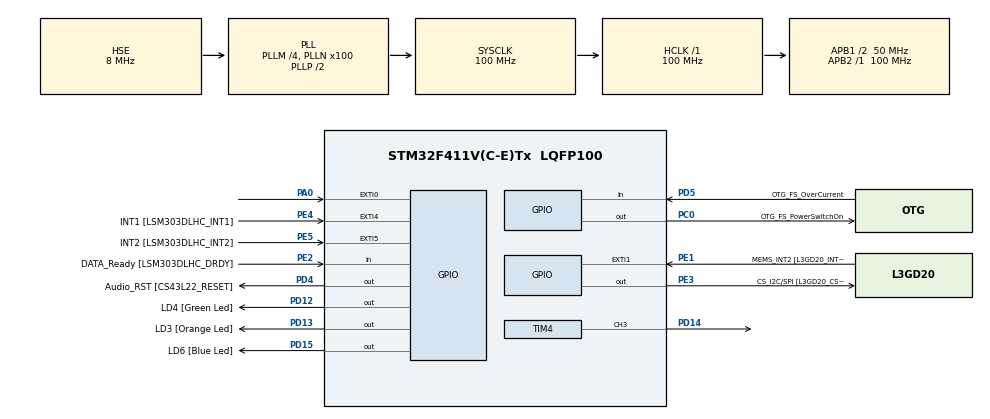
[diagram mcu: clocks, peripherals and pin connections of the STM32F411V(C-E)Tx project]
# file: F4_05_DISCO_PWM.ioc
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Mcu.Family=STM32F4
Mcu.Name=STM32F411V(C-E)Tx
Mcu.Package=LQFP100
NVIC.PriorityGroup=NVIC_PRIORITYGROUP_0
NVIC.TIM1_UP_TIM10_IRQn=true\:0\:0\:false\:false\:true\:true\:true\:true
NVIC.TIM4_IRQn=true\:0\:0\:false\:false\:true\:true\:true\:true
PA0-WKUP.GPIO_ModeDefaultEXTI=GPIO_MODE_EVT_RISING
PA0-WKUP.Signal=GPXTI0
PA10.GPIO_Label=OTG_FS_ID
PA10.Signal=USB_OTG_FS_ID
PA11.GPIO_Label=OTG_FS_DM
PA11.Signal=USB_OTG_FS_DM
PA12.GPIO_Label=OTG_FS_DP
PA12.Signal=USB_OTG_FS_DP
PA13.GPIO_Label=SWDIO
PA13.Mode=Serial_Wire
PA13.Signal=SYS_JTMS-SWDIO
PA14.GPIO_Label=SWCLK
PA14.Mode=Serial_Wire
PA14.Signal=SYS_JTCK-SWCLK
PA4.GPIO_Label=I2S3_WS [CS43L22_LRCK]
PA4.GPIO_Mode=GPIO_MODE_AF_PP
PA4.GPIO_PuPd=GPIO_NOPULL
PA4.GPIO_Speed=GPIO_SPEED_FREQ_LOW
PA4.Signal=I2S3_WS
PA5.GPIO_Label=SPI1_SCK [L3GD20_SC/SPC]
PA5.Signal=SPI1_SCK
PA6.GPIO_Label=SPI1_MISO [L3GD20_AS0/SDO]
PA6.Signal=SPI1_MISO
PA7.GPIO_Label=SPI1_MOSI [L3GD20_SDA/SDI/SDO]
PA7.Signal=SPI1_MOSI
PA9.GPIO_Label=VBUS_FS
PA9.Signal=USB_OTG_FS_VBUS
PB10.GPIO_Label=CLK_IN [MP45DT02_CLK]
PB10.Signal=I2S2_CK
PB12.Signal=I2S2_WS
PB3.GPIO_Label=SWO
PB3.Signal=SYS_JTDO-SWO
PB6.GPIO_Label=Audio_SCL [CS43L22_SCL]
PB6.GPIO_Mode=GPIO_MODE_AF_OD
PB6.GPIO_Pu=GPIO_PULLUP
PB6.GPIO_PuPd=GPIO_NOPULL
PB6.GPIO_Speed=GPIO_SPEED_FREQ_LOW
PB6.Signal=I2C1_SCL
PB9.GPIO_Label=Audio_SDA [CS43L22_SDA]
PB9.GPIO_Mode=GPIO_MODE_AF_OD
PB9.GPIO_Pu=GPIO_PULLUP
PB9.GPIO_PuPd=GPIO_NOPULL
PB9.GPIO_Speed=GPIO_SPEED_FREQ_LOW
PB9.Signal=I2C1_SDA
PC0.GPIO_Label=OTG_FS_PowerSwitchOn
PC0.PinState=GPIO_PIN_SET
PC0.Signal=GPIO_Output
PC10.GPIO_Label=I2S3_SCK [CS43L22_SCLK]
PC10.GPIO_Mode=GPIO_MODE_AF_PP
PC10.GPIO_PuPd=GPIO_NOPULL
PC10.GPIO_Speed=GPIO_SPEED_FREQ_LOW
PC10.Signal=I2S3_CK
PC12.GPIO_Label=I2S3_SD [CS43L22_SDIN]
PC12.GPIO_Mode=GPIO_MODE_AF_PP
PC12.GPIO_PuPd=GPIO_NOPULL
PC12.GPIO_Speed=GPIO_SPEED_FREQ_LOW
PC12.Signal=I2S3_SD
PC14-OSC32_IN.GPIO_Label=PC14-OSC32_IN
PC14-OSC32_IN.Signal=RCC_OSC32_IN
PC15-OSC32_OUT.GPIO_Label=PC15-OSC32_OUT
PC15-OSC32_OUT.Signal=RCC_OSC32_OUT
PC3.GPIO_Label=PDM_OUT [MP45DT02_DOUT]
PC3.Signal=I2S2_SD
PC7.GPIO_Label=I2S3_MCK [CS43L22_MCLK]
PC7.GPIO_Mode=GPIO_MODE_AF_PP
PC7.GPIO_PuPd=GPIO_NOPULL
PC7.GPIO_Speed=GPIO_SPEED_FREQ_LOW
PC7.Signal=I2S3_MCK
PD12.GPIO_Label=LD4 [Green Led]
PD12.GPIO_PuPd=GPIO_NOPULL
PD12.GPIO_Speed=GPIO_SPEED_FREQ_LOW
PD12.Signal=GPIO_Output
PD13.GPIO_Label=LD3 [Orange Led]
PD13.GPIO_PuPd=GPIO_NOPULL
PD13.GPIO_Speed=GPIO_SPEED_FREQ_LOW
PD13.Signal=GPIO_Output
PD14.Signal=S_TIM4_CH3
PD15.GPIO_Label=LD6 [Blue Led]
PD15.GPIO_PuPd=GPIO_NOPULL
PD15.GPIO_Speed=GPIO_SPEED_FREQ_LOW
PD15.Signal=GPIO_Output
PD4.GPIO_Label=Audio_RST [CS43L22_RESET]
PD4.Signal=GPIO_Output
PD5.GPIO_Label=OTG_FS_OverCurrent
PD5.Signal=GPIO_Input
PE1.GPIO_Label=MEMS_INT2 [L3GD20_INT2]
PE1.GPIO_ModeDefaultEXTI=GPIO_MODE_EVT_RISING
PE1.Signal=GPXTI1
PE2.GPIO_Label=DATA_Ready [LSM303DLHC_DRDY]
PE2.Signal=GPIO_Input
PE3.GPIO_Label=CS_I2C/SPI [L3GD20_CS_I2C/SPI]
PE3.Signal=GPIO_Output
PE4.GPIO_Label=INT1 [LSM303DLHC_INT1]
PE4.GPIO_ModeDefaultEXTI=GPIO_MODE_EVT_RISING
PE4.Signal=GPXTI4
PE5.GPIO_Label=INT2 [LSM303DLHC_INT2]
PE5.GPIO_ModeDefaultEXTI=GPIO_MODE_EVT_RISING
PE5.Signal=GPXTI5
PH0\ -\ OSC_IN.GPIO_Label=PH0-OSC_IN
PH0\ -\ OSC_IN.Mode=HSE-External-Oscillator
PH0\ -\ OSC_IN.Signal=RCC_OSC_IN
PH1\ -\ OSC_OUT.GPIO_Label=PH1-OSC_OUT
PH1\ -\ OSC_OUT.Mode=HSE-External-Oscillator
PH1\ -\ OSC_OUT.Signal=RCC_OSC_OUT
ProjectManager.HeapSize=0x200
ProjectManager.StackSize=0x400
ProjectManager.TargetToolchain=STM32CubeIDE
RCC.48MHZClocksFreq_Value=25000000
RCC.AHBFreq_Value=100000000
RCC.APB1CLKDivider=RCC_HCLK_DIV2
RCC.APB1Freq_Value=50000000
RCC.APB1TimFreq_Value=100000000
RCC.APB2Freq_Value=100000000
RCC.APB2TimFreq_Value=100000000
RCC.CortexFreq_Value=100000000
RCC.HCLKFreq_Value=100000000
RCC.HSE_VALUE=8000000
RCC.HSI_VALUE=16000000
RCC.PLLI2SM=5
RCC.PLLI2SN=200
RCC.PLLM=4
RCC.PLLN=100
RCC.PLLQ=8
RCC.PLLSourceVirtual=RCC_PLLSOURCE_HSE
RCC.SYSCLKFreq_VALUE=100000000
RCC.SYSCLKSource=RCC_SYSCLKSOURCE_PLLCLK
RCC.VCOOutputFreq_Value=200000000
SH.S_TIM4_CH3.0=TIM4_CH3,PWM Generation3 CH3
TIM10.ClockDivision=TIM_CLOCKDIVISION_DIV1
TIM10.Period=99
TIM10.Prescaler=999
TIM4.Channel-PWM\ Generation3\ CH3=TIM_CHANNEL_3
TIM4.Period=99
TIM4.Prescaler=4999
VP_TIM10_VS_ClockSourceINT.Mode=Enable_Timer
VP_TIM4_VS_ClockSourceINT.Mode=Internal
board=STM32F411E-DISCO

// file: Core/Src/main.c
/* USER CODE BEGIN Header */
/**
  ******************************************************************************
  * @file           : main.c
  * @brief          : Main program body
  ******************************************************************************
  * @attention
  *
  * Copyright (c) 2023 STMicroelectronics.
  * All rights reserved.
  *
  * This software is licensed under terms that can be found in the LICENSE file
  * in the root directory of this software component.
  * If no LICENSE file comes with this software, it is provided AS-IS.
  *
  ******************************************************************************
  */
/* USER CODE END Header */
#include "main.h"
#include "tim.h"
#include "gpio.h"

/* USER CODE BEGIN Includes */
#include <stdbool.h>
/* USER CODE END Includes */

/* USER CODE BEGIN PD */
#define INCREASING_TIME 2		// [s]
#define DECREASING_TIME 4		// [s]
#define DUTY_INCREMENTATION 100 // times
/* USER CODE END PD */

/* USER CODE BEGIN PV */
uint16_t interrupts_increase;
uint16_t interrupts_decrease;
uint8_t InterruptPrescaler = 0;
volatile bool IsIncreasing = true;
uint32_t Duty = 0;
/* USER CODE END PV */

void SystemClock_Config(void);
/* USER CODE BEGIN PFP */
//void HAL_SYSTICK_Callback(void);
void HAL_TIM_PeriodElapsedCallback(TIM_HandleTypeDef *htim);
/* USER CODE END PFP */

int main(void)
{
  /* USER CODE BEGIN 1 */
	interrupts_increase = (uint16_t) (1000 * INCREASING_TIME) / DUTY_INCREMENTATION;
	interrupts_decrease = (uint16_t) (1000 * DECREASING_TIME) / DUTY_INCREMENTATION;
  /* USER CODE END 1 */

  /* MCU Configuration--------------------------------------------------------*/

  /* Reset of all peripherals, Initializes the Flash interface and the Systick. */
  HAL_Init();

  /* Configure the system clock */
  SystemClock_Config();

  /* Initialize all configured peripherals */
  MX_GPIO_Init();
  MX_TIM4_Init();
  MX_TIM10_Init();
  /* USER CODE BEGIN 2 */
  //HAL_TIM_Base_Start(&htim4);
  HAL_TIM_Base_Start_IT(&htim10);
  HAL_TIM_PWM_Start(&htim4, TIM_CHANNEL_3);
  /* USER CODE END 2 */

  /* Infinite loop */
  while (1)
  {

  }
}

void SystemClock_Config(void)
{
  RCC_OscInitTypeDef RCC_OscInitStruct = {0};
  RCC_ClkInitTypeDef RCC_ClkInitStruct = {0};

  /** Configure the main internal regulator output voltage
  */
  __HAL_RCC_PWR_CLK_ENABLE();
  __HAL_PWR_VOLTAGESCALING_CONFIG(PWR_REGULATOR_VOLTAGE_SCALE1);

  /** Initializes the RCC Oscillators according to the specified parameters
  * in the RCC_OscInitTypeDef structure.
  */
  RCC_OscInitStruct.OscillatorType = RCC_OSCILLATORTYPE_HSE;
  RCC_OscInitStruct.HSEState = RCC_HSE_ON;
  RCC_OscInitStruct.PLL.PLLState = RCC_PLL_ON;
  RCC_OscInitStruct.PLL.PLLSource = RCC_PLLSOURCE_HSE;
  RCC_OscInitStruct.PLL.PLLM = 4;
  RCC_OscInitStruct.PLL.PLLN = 100;
  RCC_OscInitStruct.PLL.PLLP = RCC_PLLP_DIV2;
  RCC_OscInitStruct.PLL.PLLQ = 8;
  if (HAL_RCC_OscConfig(&RCC_OscInitStruct) != HAL_OK)
  {
    Error_Handler();
  }

  /** Initializes the CPU, AHB and APB buses clocks
  */
  RCC_ClkInitStruct.ClockType = RCC_CLOCKTYPE_HCLK|RCC_CLOCKTYPE_SYSCLK
                              |RCC_CLOCKTYPE_PCLK1|RCC_CLOCKTYPE_PCLK2;
  RCC_ClkInitStruct.SYSCLKSource = RCC_SYSCLKSOURCE_PLLCLK;
  RCC_ClkInitStruct.AHBCLKDivider = RCC_SYSCLK_DIV1;
  RCC_ClkInitStruct.APB1CLKDivider = RCC_HCLK_DIV2;
  RCC_ClkInitStruct.APB2CLKDivider = RCC_HCLK_DIV1;

  if (HAL_RCC_ClockConfig(&RCC_ClkInitStruct, FLASH_LATENCY_3) != HAL_OK)
  {
    Error_Handler();
  }
}

/* USER CODE BEGIN 4 */
//void HAL_SYSTICK_Callback(void)
void HAL_TIM_PeriodElapsedCallback(TIM_HandleTypeDef *htim)
{
	if (TIM10 == htim->Instance)
	{
		InterruptPrescaler++;

		if (IsIncreasing && interrupts_increase == InterruptPrescaler)
		{
			InterruptPrescaler = 0;
			if (100 == ++Duty)
			{
				IsIncreasing = false;
			}
		}

		if (!IsIncreasing && interrupts_decrease == InterruptPrescaler)
		{
			InterruptPrescaler = 0;
			if (0 == --Duty)
			{
				IsIncreasing = true;
			}
		}
		TIM4->CCR3 = Duty;
	}
}
/* USER CODE END 4 */

void Error_Handler(void)
{
  __disable_irq();
  while (1)
  {
  }
}
